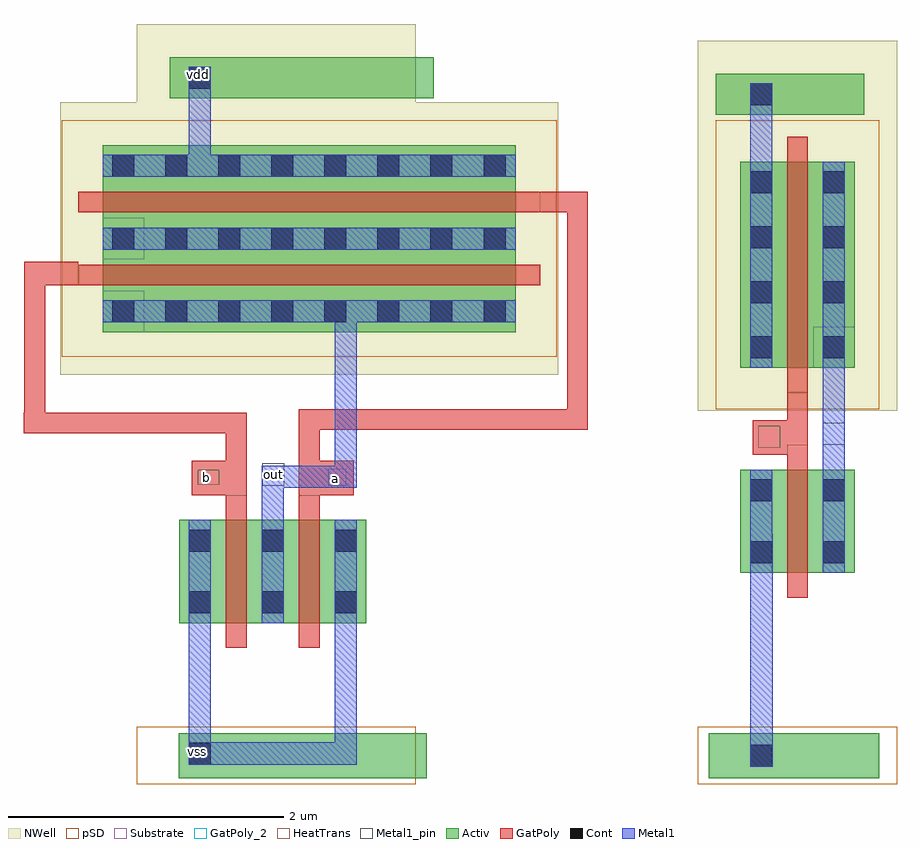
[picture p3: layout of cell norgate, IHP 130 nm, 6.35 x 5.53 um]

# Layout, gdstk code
from math import pi, radians
import gdstk
lib = gdstk.Library(unit=1e-6, precision=5e-09)
def R(c, l, rs):  # rectangles x0, y0, x1, y1
    for r in rs: c.add(gdstk.rectangle(r[:2], r[2:], *l))
def A(c, l, x, y, w, h, nx, ny, dx, dy):  # array of equal rectangles
    R(c, l, [(x+i*dx, y+j*dy, x+i*dx+w, y+j*dy+h) for i in range(nx) for j in range(ny)])
Activ = (1, 0)
GatPoly = (5, 0)
GatPoly_2 = (5, 2)
Cont = (6, 0)
Metal1 = (8, 0)
Metal1_pin = (8, 2)
pSD = (14, 0)
NWell = (31, 0)
Substrate = (40, 0)
HeatTrans = (51, 0)

nmos_5 = lib.new_cell('nmos$5')
R(nmos_5, Activ, [(0,0,0.3,0.3), (0,0,0.83,0.75), (0.53,0,0.83,0.3)])
R(nmos_5, GatPoly, [(0.34,-0.18,0.49,0.93)])
R(nmos_5, GatPoly_2, [(0.34,-0.18,0.49,0.93)])
R(nmos_5, Cont, [(0.07,0.07,0.23,0.23), (0.6,0.07,0.76,0.23), (0.07,0.52,0.23,0.68), (0.6,0.52,0.76,0.68)])
R(nmos_5, Metal1, [(0.07,0,0.23,0.75), (0.6,0,0.76,0.75)])
R(nmos_5, Metal1_pin, [(0.07,0,0.23,0.75), (0.6,0,0.76,0.75)])
R(nmos_5, HeatTrans, [(0.34,-0.18,0.49,0.93)])
nmos_5.add(gdstk.Label('nmos', (0.415,0.375), layer=63, texttype=0))
nmos_5.add(gdstk.Label('nmos', (0.415,0.375), layer=51, texttype=0))

pmos_5 = lib.new_cell('pmos$5')
R(pmos_5, Activ, [(0,0,0.3,0.3), (0,0,0.83,3), (0.53,0,0.83,0.3)])
R(pmos_5, GatPoly, [(0.34,-0.18,0.49,3.18), (0.34,-0.18,0.49,3.18)])
A(pmos_5, Cont, 0.07, 0.07, 0.16, 0.16, 1, 7, 0, 0.385)
A(pmos_5, Cont, 0.6, 0.07, 0.16, 0.16, 1, 7, 0, 0.385)
R(pmos_5, Cont, [(0.07,2.77,0.23,2.93), (0.6,2.77,0.76,2.93)])
R(pmos_5, Metal1, [(0.07,0,0.23,3), (0.07,0,0.23,3), (0.6,0,0.76,3), (0.6,0,0.76,3)])
R(pmos_5, pSD, [(-0.18,-0.3,1.01,3.3)])
R(pmos_5, NWell, [(-0.31,-0.31,1.14,3.31)])
R(pmos_5, Substrate, [(0.53,0,0.83,0.3)])
R(pmos_5, HeatTrans, [(0.34,-0.18,0.49,3.18)])
pmos_5.add(gdstk.Label('pmos', (0.415,1.5), layer=63, texttype=0))
pmos_5.add(gdstk.Label('pmos', (0.415,1.5), layer=51, texttype=0))

nmos_6 = lib.new_cell('nmos$6')
R(nmos_6, Activ, [(0,0,0.3,0.3), (0,0,0.83,0.75), (0.53,0,0.83,0.3)])
R(nmos_6, GatPoly, [(0.34,-0.18,0.49,0.93)])
R(nmos_6, GatPoly_2, [(0.34,-0.18,0.49,0.93)])
R(nmos_6, Cont, [(0.07,0.07,0.23,0.23), (0.6,0.07,0.76,0.23), (0.07,0.52,0.23,0.68), (0.6,0.52,0.76,0.68)])
R(nmos_6, Metal1, [(0.07,0,0.23,0.75), (0.6,0,0.76,0.75)])
R(nmos_6, Metal1_pin, [(0.07,0,0.23,0.75), (0.6,0,0.76,0.75)])
R(nmos_6, HeatTrans, [(0.34,-0.18,0.49,0.93)])
nmos_6.add(gdstk.Label('nmos', (0.415,0.375), layer=63, texttype=0))
nmos_6.add(gdstk.Label('nmos', (0.415,0.375), layer=51, texttype=0))

pmos = lib.new_cell('pmos')
R(pmos, Activ, [(0,0,0.3,0.3), (0,0,0.83,1.5), (0.53,0,0.83,0.3)])
R(pmos, GatPoly, [(0.34,-0.18,0.49,1.68), (0.34,-0.18,0.49,1.68)])
A(pmos, Cont, 0.07, 0.07, 0.16, 0.16, 1, 4, 0, 0.4)
A(pmos, Cont, 0.6, 0.07, 0.16, 0.16, 1, 4, 0, 0.4)
R(pmos, Metal1, [(0.07,0,0.23,1.5), (0.07,0,0.23,1.5), (0.6,0,0.76,1.5), (0.6,0,0.76,1.5)])
R(pmos, pSD, [(-0.18,-0.3,1.01,1.8)])
R(pmos, NWell, [(-0.31,-0.31,1.14,1.81)])
R(pmos, Substrate, [(0.53,0,0.83,0.3)])
R(pmos, HeatTrans, [(0.34,-0.18,0.49,1.68)])
pmos.add(gdstk.Label('pmos', (0.415,0.75), layer=63, texttype=0))
pmos.add(gdstk.Label('pmos', (0.415,0.75), layer=51, texttype=0))

inverter_4 = lib.new_cell('inverter$4')
R(inverter_4, Activ, [(-0.845,-2.62,0.395,-2.29), (-0.795,2.205,0.285,2.505)])
R(inverter_4, GatPoly, [(-0.525,-0.265,-0.275,-0.015), (-0.275,-0.195,-0.125,0.185)])
R(inverter_4, GatPoly_2, [(-0.485,-0.215,-0.325,-0.055)])
R(inverter_4, Cont, [(-0.545,-2.535,-0.385,-2.375), (-0.545,-2.535,-0.385,-2.375), (-0.545,2.275,-0.385,2.435)])
R(inverter_4, Metal1, [(-0.545,-2.535,-0.38,-0.845), (-0.015,-0.375,0.145,0.365), (-0.545,1.865,-0.385,2.435)])
R(inverter_4, Metal1_pin, [(-0.015,-0.195,0.145,-0.035)])
R(inverter_4, pSD, [(-0.925,-2.66,0.525,-2.245)])
R(inverter_4, NWell, [(-0.925,2.175,0.525,2.745)])
inverter_4.add(gdstk.Reference(nmos_6, (-0.615,-1.125)))
inverter_4.add(gdstk.Reference(pmos, (-0.615,0.365)))
inverter_4.add(gdstk.Label('vss', (-0.475,-2.43), layer=8, texttype=2))
inverter_4.add(gdstk.Label('vdd', (-0.465,2.355), layer=8, texttype=2))
inverter_4.add(gdstk.Label('out', (0.06,-0.09), layer=8, texttype=2))
inverter_4.add(gdstk.Label('in', (-0.45,-0.11), layer=5, texttype=2))

norgate = lib.new_cell('norgate')
R(norgate, Activ, [(-0.62,-2.62,1.185,-2.29), (-0.685,2.325,1.235,2.625)])
R(norgate, GatPoly, [(-0.525,-0.56,-0.125,-0.31), (-0.275,-0.56,-0.125,-0.11), (0.255,-0.56,0.405,0.065), (0.255,-0.56,0.655,-0.31), (-1.745,-0.11,-0.125,0.04), (0.255,-0.085,2.355,0.065), (2.205,-0.085,2.355,1.645), (-1.74,0.04,-1.59,1.135), (-1.59,0.965,-1.35,1.135), (2.01,1.495,2.355,1.645)])
R(norgate, GatPoly_2, [(0.47,-0.49,0.6,-0.37), (-0.48,-0.485,-0.325,-0.375)])
R(norgate, Cont, [(-0.545,-2.52,-0.385,-2.36), (-0.545,2.395,-0.385,2.555)])
R(norgate, Metal1, [(-0.545,-2.52,-0.385,-0.74), (-0.545,-2.52,0.675,-2.355), (0.515,-2.52,0.675,-0.74), (-0.015,-0.74,0.145,-0.36), (-0.015,-0.505,0.675,-0.345), (0.515,-0.49,0.675,0.695), (-0.545,1.755,-0.385,2.555)])
R(norgate, Metal1_pin, [(-0.545,-2.52,-0.385,-2.355), (-0.01,-0.49,0.15,-0.33), (-0.545,2.395,-0.385,2.555)])
R(norgate, pSD, [(-0.925,-2.66,1.105,-2.245)])
R(norgate, NWell, [(-0.925,2.295,1.105,2.865)])
norgate.add(gdstk.Reference(nmos_5, (0.745,-0.74), rotation=pi))
norgate.add(gdstk.Reference(nmos_5, (-0.615,-1.49)))
norgate.add(gdstk.Reference(pmos_5, (-1.17,1.985), rotation=3*pi/2))
norgate.add(gdstk.Reference(inverter_4, (4.08,0)))
norgate.add(gdstk.Reference(pmos_5, (-1.17,1.455), rotation=3*pi/2))
norgate.add(gdstk.Label('vdd', (-0.475,2.5), layer=8, texttype=2))
norgate.add(gdstk.Label('out', (0.07,-0.41), layer=8, texttype=2))
norgate.add(gdstk.Label('vss', (-0.485,-2.425), layer=8, texttype=2))
norgate.add(gdstk.Label('b', (-0.42,-0.435), layer=5, texttype=2))
norgate.add(gdstk.Label('a', (0.52,-0.44), layer=5, texttype=2))

lib.write_gds('norgate.gds')
